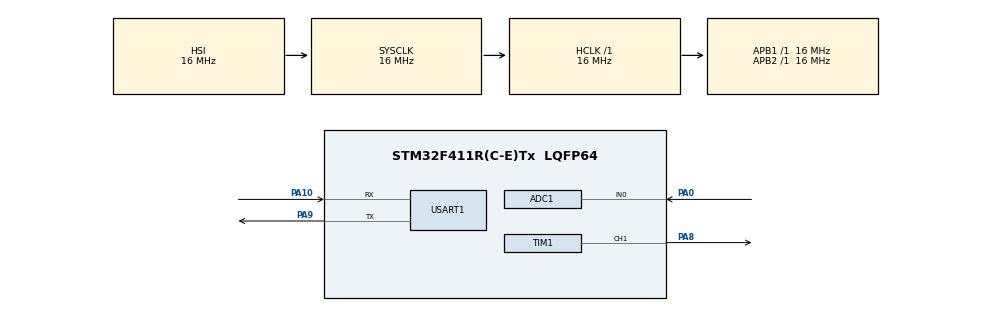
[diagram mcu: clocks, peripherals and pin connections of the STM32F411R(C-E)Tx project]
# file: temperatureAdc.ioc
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ADC1.Channel-0\#ChannelRegularConversion=ADC_CHANNEL_0
ADC1.NbrOfConversionFlag=1
ADC1.Rank-0\#ChannelRegularConversion=1
ADC1.SamplingTime-0\#ChannelRegularConversion=ADC_SAMPLETIME_3CYCLES
ADC1.master=1
Mcu.Family=STM32F4
Mcu.Name=STM32F411R(C-E)Tx
Mcu.Package=LQFP64
NVIC.PriorityGroup=NVIC_PRIORITYGROUP_4
NVIC.USART1_IRQn=true\:0\:0\:false\:false\:true\:true\:true\:true
PA0-WKUP.Signal=ADCx_IN0
PA10.Mode=Asynchronous
PA10.Signal=USART1_RX
PA8.Signal=S_TIM1_CH1
PA9.Mode=Asynchronous
PA9.Signal=USART1_TX
ProjectManager.HeapSize=0x200
ProjectManager.StackSize=0x400
ProjectManager.TargetToolchain=STM32CubeIDE
RCC.AHBFreq_Value=16000000
RCC.APB1Freq_Value=16000000
RCC.APB2Freq_Value=16000000
RCC.CortexFreq_Value=16000000
RCC.HSE_VALUE=25000000
RCC.HSI_VALUE=16000000
RCC.LSE_VALUE=32768
RCC.SYSCLKFreq_VALUE=16000000
RCC.VCOOutputFreq_Value=192000000
SH.ADCx_IN0.0=ADC1_IN0,IN0
SH.S_TIM1_CH1.0=TIM1_CH1,PWM Generation1 CH1
TIM1.Channel-PWM\ Generation1\ CH1=TIM_CHANNEL_1
TIM1.Period=99
USART1.VirtualMode=VM_ASYNC
VP_TIM1_VS_ClockSourceINT.Mode=Internal
board=custom

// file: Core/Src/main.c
/* USER CODE BEGIN Header */
/**
  ******************************************************************************
  * @file           : main.c
  * @brief          : Main program body
  ******************************************************************************
  * @attention
  *
  * Copyright (c) 2023 STMicroelectronics.
  * All rights reserved.
  *
  * This software is licensed under terms that can be found in the LICENSE file
  * in the root directory of this software component.
  * If no LICENSE file comes with this software, it is provided AS-IS.
  *
  ******************************************************************************
  */
/* USER CODE END Header */
#include "main.h"

/* USER CODE BEGIN Includes */
#include "uart.h"
#include "filter.h"
/* USER CODE END Includes */

ADC_HandleTypeDef hadc1;

TIM_HandleTypeDef htim1;

UART_HandleTypeDef huart1;

void SystemClock_Config(void);
static void MX_GPIO_Init(void);
static void MX_ADC1_Init(void);
static void MX_USART1_UART_Init(void);
static void MX_TIM1_Init(void);

/* USER CODE BEGIN 0 */
void enableBuzzer(){
	HAL_TIM_PWM_Start(&htim1, TIM_CHANNEL_1);
}

void disableBuzzer(){
	HAL_TIM_PWM_Stop(&htim1, TIM_CHANNEL_1);
}
/* USER CODE END 0 */

int main(void)
{

  /* MCU Configuration--------------------------------------------------------*/

  /* Reset of all peripherals, Initializes the Flash interface and the Systick. */
  HAL_Init();

  /* Configure the system clock */
  SystemClock_Config();

  /* Initialize all configured peripherals */
  MX_GPIO_Init();
  MX_ADC1_Init();
  MX_USART1_UART_Init();
  MX_TIM1_Init();
  /* USER CODE BEGIN 2 */
  initUart(); //Uart initialize
  /* USER CODE END 2 */

  /* Infinite loop */
  while (1)
  {

    /* USER CODE BEGIN 3 */
  	/*
  	HAL_ADC_Start(&hadc1);
  	HAL_ADC_PollForConversion(&hadc1, 1); //변환�?� �??나는 것�?� 기다림(대기) 1msec
  	uint16_t value = HAL_ADC_GetValue(&hadc1); // 변환값 �?�기
  	HAL_ADC_Stop(&hadc1);
  	// adc 변환 주기

  	printf("Temperature = %d\n", value);
  	HAL_Delay(100);
  	*/

  	HAL_ADC_Start(&hadc1);
  	HAL_ADC_PollForConversion(&hadc1, 1); //변환�?� �??나는 것�?� 기다림(대기) 1msec
  	uint16_t value = HAL_ADC_GetValue(&hadc1); // 변환값 �?�기
  	HAL_ADC_Stop(&hadc1);
  	// adc 변환 주기

  	int filtervalue = (int)Kalman((double)value); //필터의 경우 한번 치환한 값을 가지고 활용하도록 변수의 결과 값을 담아서 사용하는 것이 좋음
  	if(filtervalue > 400){
  			enableBuzzer();
  	}
  	if(filtervalue < 350){
  			disableBuzzer();
  	}
  	//printf("T = %d\tA = %d\tK = %d",value, AvgFilter(value),(int)Kalman((double)value));
  	printf("%d %d %d\n\n",value, AvgFilter(value),filtervalue);
  	HAL_Delay(100);
  }
  /* USER CODE END 3 */
}

void SystemClock_Config(void)
{
  RCC_OscInitTypeDef RCC_OscInitStruct = {0};
  RCC_ClkInitTypeDef RCC_ClkInitStruct = {0};

  /** Configure the main internal regulator output voltage
  */
  __HAL_RCC_PWR_CLK_ENABLE();
  __HAL_PWR_VOLTAGESCALING_CONFIG(PWR_REGULATOR_VOLTAGE_SCALE1);

  /** Initializes the RCC Oscillators according to the specified parameters
  * in the RCC_OscInitTypeDef structure.
  */
  RCC_OscInitStruct.OscillatorType = RCC_OSCILLATORTYPE_HSI;
  RCC_OscInitStruct.HSIState = RCC_HSI_ON;
  RCC_OscInitStruct.HSICalibrationValue = RCC_HSICALIBRATION_DEFAULT;
  RCC_OscInitStruct.PLL.PLLState = RCC_PLL_NONE;
  if (HAL_RCC_OscConfig(&RCC_OscInitStruct) != HAL_OK)
  {
    Error_Handler();
  }

  /** Initializes the CPU, AHB and APB buses clocks
  */
  RCC_ClkInitStruct.ClockType = RCC_CLOCKTYPE_HCLK|RCC_CLOCKTYPE_SYSCLK
                              |RCC_CLOCKTYPE_PCLK1|RCC_CLOCKTYPE_PCLK2;
  RCC_ClkInitStruct.SYSCLKSource = RCC_SYSCLKSOURCE_HSI;
  RCC_ClkInitStruct.AHBCLKDivider = RCC_SYSCLK_DIV1;
  RCC_ClkInitStruct.APB1CLKDivider = RCC_HCLK_DIV1;
  RCC_ClkInitStruct.APB2CLKDivider = RCC_HCLK_DIV1;

  if (HAL_RCC_ClockConfig(&RCC_ClkInitStruct, FLASH_LATENCY_0) != HAL_OK)
  {
    Error_Handler();
  }
}

static void MX_ADC1_Init(void)
{

  ADC_ChannelConfTypeDef sConfig = {0};

  /** Configure the global features of the ADC (Clock, Resolution, Data Alignment and number of conversion)
  */
  hadc1.Instance = ADC1;
  hadc1.Init.ClockPrescaler = ADC_CLOCK_SYNC_PCLK_DIV2;
  hadc1.Init.Resolution = ADC_RESOLUTION_12B;
  hadc1.Init.ScanConvMode = DISABLE;
  hadc1.Init.ContinuousConvMode = DISABLE;
  hadc1.Init.DiscontinuousConvMode = DISABLE;
  hadc1.Init.ExternalTrigConvEdge = ADC_EXTERNALTRIGCONVEDGE_NONE;
  hadc1.Init.ExternalTrigConv = ADC_SOFTWARE_START;
  hadc1.Init.DataAlign = ADC_DATAALIGN_RIGHT;
  hadc1.Init.NbrOfConversion = 1;
  hadc1.Init.DMAContinuousRequests = DISABLE;
  hadc1.Init.EOCSelection = ADC_EOC_SINGLE_CONV;
  if (HAL_ADC_Init(&hadc1) != HAL_OK)
  {
    Error_Handler();
  }

  /** Configure for the selected ADC regular channel its corresponding rank in the sequencer and its sample time.
  */
  sConfig.Channel = ADC_CHANNEL_0;
  sConfig.Rank = 1;
  sConfig.SamplingTime = ADC_SAMPLETIME_3CYCLES;
  if (HAL_ADC_ConfigChannel(&hadc1, &sConfig) != HAL_OK)
  {
    Error_Handler();
  }

}

static void MX_TIM1_Init(void)
{

  TIM_ClockConfigTypeDef sClockSourceConfig = {0};
  TIM_MasterConfigTypeDef sMasterConfig = {0};
  TIM_OC_InitTypeDef sConfigOC = {0};
  TIM_BreakDeadTimeConfigTypeDef sBreakDeadTimeConfig = {0};

  htim1.Instance = TIM1;
  htim1.Init.Prescaler = 0;
  htim1.Init.CounterMode = TIM_COUNTERMODE_UP;
  htim1.Init.Period = 99;
  htim1.Init.ClockDivision = TIM_CLOCKDIVISION_DIV1;
  htim1.Init.RepetitionCounter = 0;
  htim1.Init.AutoReloadPreload = TIM_AUTORELOAD_PRELOAD_DISABLE;
  if (HAL_TIM_Base_Init(&htim1) != HAL_OK)
  {
    Error_Handler();
  }
  sClockSourceConfig.ClockSource = TIM_CLOCKSOURCE_INTERNAL;
  if (HAL_TIM_ConfigClockSource(&htim1, &sClockSourceConfig) != HAL_OK)
  {
    Error_Handler();
  }
  if (HAL_TIM_PWM_Init(&htim1) != HAL_OK)
  {
    Error_Handler();
  }
  sMasterConfig.MasterOutputTrigger = TIM_TRGO_RESET;
  sMasterConfig.MasterSlaveMode = TIM_MASTERSLAVEMODE_DISABLE;
  if (HAL_TIMEx_MasterConfigSynchronization(&htim1, &sMasterConfig) != HAL_OK)
  {
    Error_Handler();
  }
  sConfigOC.OCMode = TIM_OCMODE_PWM1;
  sConfigOC.Pulse = 0;
  sConfigOC.OCPolarity = TIM_OCPOLARITY_HIGH;
  sConfigOC.OCNPolarity = TIM_OCNPOLARITY_HIGH;
  sConfigOC.OCFastMode = TIM_OCFAST_DISABLE;
  sConfigOC.OCIdleState = TIM_OCIDLESTATE_RESET;
  sConfigOC.OCNIdleState = TIM_OCNIDLESTATE_RESET;
  if (HAL_TIM_PWM_ConfigChannel(&htim1, &sConfigOC, TIM_CHANNEL_1) != HAL_OK)
  {
    Error_Handler();
  }
  sBreakDeadTimeConfig.OffStateRunMode = TIM_OSSR_DISABLE;
  sBreakDeadTimeConfig.OffStateIDLEMode = TIM_OSSI_DISABLE;
  sBreakDeadTimeConfig.LockLevel = TIM_LOCKLEVEL_OFF;
  sBreakDeadTimeConfig.DeadTime = 0;
  sBreakDeadTimeConfig.BreakState = TIM_BREAK_DISABLE;
  sBreakDeadTimeConfig.BreakPolarity = TIM_BREAKPOLARITY_HIGH;
  sBreakDeadTimeConfig.AutomaticOutput = TIM_AUTOMATICOUTPUT_DISABLE;
  if (HAL_TIMEx_ConfigBreakDeadTime(&htim1, &sBreakDeadTimeConfig) != HAL_OK)
  {
    Error_Handler();
  }
  HAL_TIM_MspPostInit(&htim1);

}

static void MX_USART1_UART_Init(void)
{

  huart1.Instance = USART1;
  huart1.Init.BaudRate = 115200;
  huart1.Init.WordLength = UART_WORDLENGTH_8B;
  huart1.Init.StopBits = UART_STOPBITS_1;
  huart1.Init.Parity = UART_PARITY_NONE;
  huart1.Init.Mode = UART_MODE_TX_RX;
  huart1.Init.HwFlowCtl = UART_HWCONTROL_NONE;
  huart1.Init.OverSampling = UART_OVERSAMPLING_16;
  if (HAL_UART_Init(&huart1) != HAL_OK)
  {
    Error_Handler();
  }

}

static void MX_GPIO_Init(void)
{

  /* GPIO Ports Clock Enable */
  __HAL_RCC_GPIOA_CLK_ENABLE();

}

void Error_Handler(void)
{
  __disable_irq();
  while (1)
  {
  }
}
